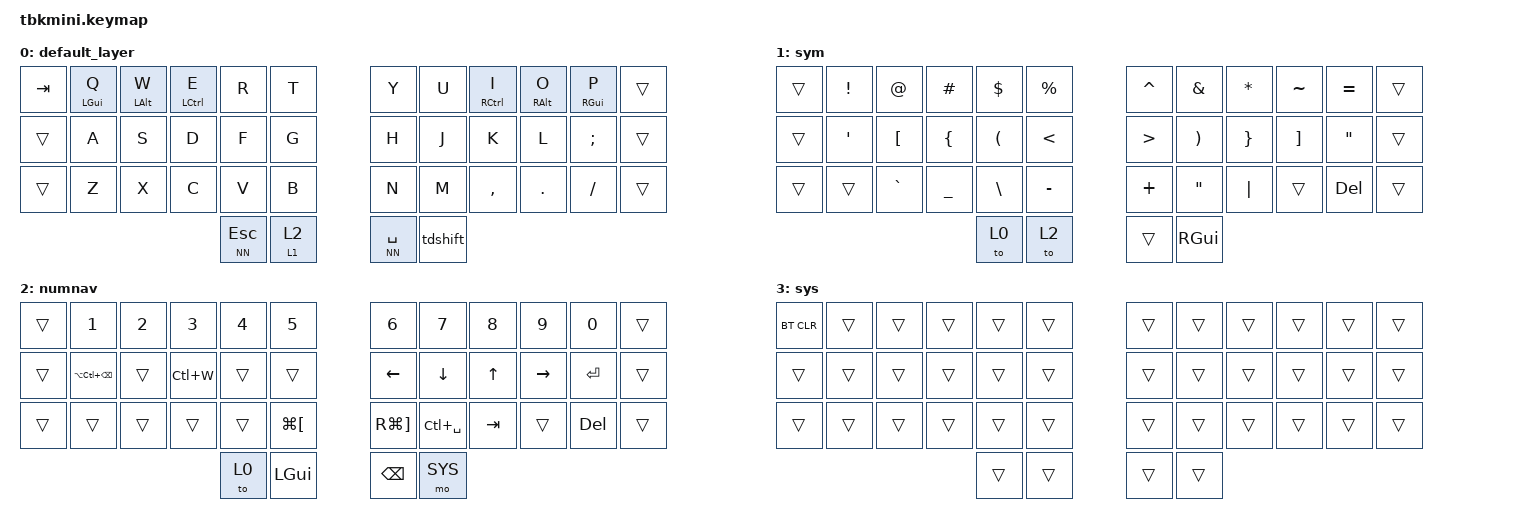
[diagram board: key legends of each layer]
#include <behaviors.dtsi>
#include <dt-bindings/zmk/keys.h>
#include <dt-bindings/zmk/bt.h>

#define DEFAULT 0
#define SYM     1
#define NN      2
#define SYS     3

&lt {
    tapping-term-ms = <200>;
    quick_tap_ms = <100>;
    flavor = "tap-preferred";
};

/ {
    chosen {
        zmk,matrix_transform = &default_transform;
    };

    behaviors {
        hm: homerow_mods {
            compatible = "zmk,behavior-hold-tap";
            label = "HOMEROW_MODS";
            #binding-cells = <2>;
            tapping-term-ms = <150>;
            quick_tap_ms = <0>;
            flavor = "tap-preferred";
            bindings = <&kp>, <&kp>;
        };
        lm: left_hand_positional_hold_tap {
            compatible = "zmk,behavior-hold-tap";
            label = "LEFT_HOMEROW_MODS";
            #binding-cells = <2>;
            flavor = "tap-unless-interrupted";
            tapping-term-ms = <300>;
            quick-tap-ms = <200>;
            global-quick-tap;
            bindings = <&kp>, <&kp>;
            hold-trigger-key-positions = <6 7 8 9 10 11  18 19 20 21 22 23  30 31 32 33 34 35  36 37 38 39>;
        };
        rm: right_hand_positional_hold_tap {
            compatible = "zmk,behavior-hold-tap";
            label = "RIGHT_HOMEROW_MODS";
            #binding-cells = <2>;
            flavor = "tap-unless-interrupted";
            tapping-term-ms = <300>;
            quick-tap-ms = <200>;
            global-quick-tap;
            bindings = <&kp>, <&kp>;
            hold-trigger-key-positions = <0 1 2 3 4 5  12 13 14 15 16 17  24 25 26 27 28 29  36 37 38 39>;
        };
        td: tapdance {
            compatible = "zmk,behavior-hold-tap";
            label = "TAPDANCE";
            #binding-cells = <2>;
            tapping-term-ms = <150>;
            quick_tap_ms = <0>;
            flavor = "tap-preferred";
            bindings = <&kp>, <&kp>;
        };
        tdshift: tap_dance_0 {
            compatible = "zmk,behavior-tap-dance";
            label = "TAP_DANCE_0";
            #binding-cells = <0>;
            tapping-term-ms = <200>;
            bindings = <&sk LSHFT>, <&caps_word>;
        };
        qlt: global-quick-tap {
            compatible = "zmk,behavior-hold-tap";
            label = "GLOBAL_QUICK_TAP";
            #binding-cells = <2>;
            flavor = "tap-preferred";
            tapping-term-ms = <200>;
            quick-tap-ms = <125>;
            bindings = <&mo>, <&to>;
        };
        ltq: global-quick-tap {
            compatible = "zmk,behavior-hold-tap";
            label = "GLOBAL_QUICK_TAP";
            #binding-cells = <2>;
            flavor = "tap-preferred";
            tapping-term-ms = <150>;
            quick-tap-ms = <125>;
            bindings = <&mo>, <&kp>;
        };
    };
    keymap {
        compatible = "zmk,keymap";

        default_layer {
            bindings = <
                &kp TAB   &lm LGUI Q &lm LALT W &lm LCTRL E &kp R &kp T                       &kp Y     &kp U     &rm RCTRL I &rm RALT O &rm RGUI P &trans
                &trans    &kp A     &kp S     &kp D     &kp F     &kp G                       &kp H     &kp J     &kp K     &kp L     &kp SEMI     &trans
                &trans    &kp Z     &kp X     &kp C     &kp V     &kp B                       &kp N     &kp M     &kp COMMA &kp DOT   &kp FSLH     &trans
                                                        &lt NN ESC  &qlt 1 2                 &ltq NN SPC &tdshift  
            >;
        };

        sym {
            bindings = <
                &trans    &kp EXCL  &kp AT    &kp HASH  &kp DLLR  &kp PRCNT                   &kp CARET &kp AMPS  &kp STAR  &kp TILDE &kp EQUAL &trans
                &trans    &kp SQT   &kp LBKT  &kp LBRC  &kp LPAR  &kp LT                      &kp GT    &kp RPAR  &kp RBRC  &kp RBKT  &kp DQT   &trans   
                &trans    &trans    &kp GRAVE &kp UNDER &kp BSLH  &kp MINUS                   &kp PLUS  &kp DQT   &kp PIPE  &trans    &kp DEL   &trans
                                                        &to 0    &to 2                        &trans   &kp RGUI            
            >;
        };

        numnav {
            bindings = <
                &trans    &kp N1    &kp N2    &kp N3    &kp N4    &kp N5                      &kp N6    &kp N7    &kp N8    &kp N9    &kp N0      &trans 
                &trans    &kp LA(LC(BSPC)) &trans &kp LC(W) &trans &trans                     &kp LEFT  &kp DOWN  &kp UP    &kp RIGHT &kp RET     &trans 
                &trans    &trans    &trans    &trans    &trans    &kp LG(LBKT)                &kp RG(RBKT) &kp LC(SPC) &kp TAB &trans  &kp DEL   &trans 
                                                        &to 0    &kp LGUI                    &kp BSPC  &mo SYS          
            >;
        };

        sys {
            bindings = <
                &bt BT_CLR &trans   &trans    &trans    &trans    &trans                      &trans    &trans    &trans    &trans    &trans    &trans
                &trans    &trans    &trans    &trans    &trans    &trans                      &trans    &trans    &trans    &trans    &trans    &trans
                &trans    &trans    &trans    &trans    &trans    &trans                      &trans    &trans    &trans    &trans    &trans    &trans
                                                        &trans    &trans                      &trans    &trans              
            >;
        };
    };
};
